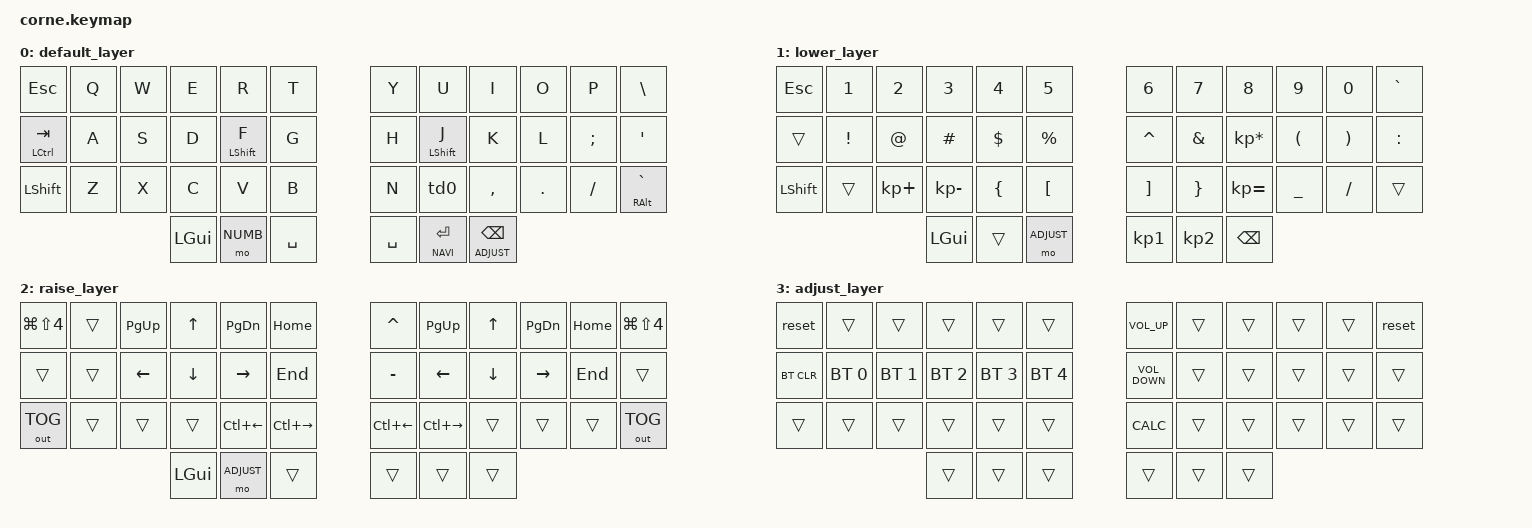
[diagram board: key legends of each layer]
/*
 * Copyright (c) 2020 The ZMK Contributors
 *
 * SPDX-License-Identifier: MIT
 * To use home rows - &hm LSHFT F
 */

#include <behaviors.dtsi>
#include <dt-bindings/zmk/keys.h>
#include <dt-bindings/zmk/bt.h>
#include <dt-bindings/zmk/outputs.h>

#define QWERTY 0
#define NUMB 1
#define NAVI 2
#define ADJUST 3

/ {

    behaviors {        
        hm: homerow_mods {
        compatible = "zmk,behavior-hold-tap";
        label = "HOMEROW_MODS";
        #binding-cells = <2>;
        tapping-term-ms = <150>;
        quick_tap_ms = <0>;
        flavor = "tap-preferred";
        bindings = <&kp>, <&kp>;
        };
		
		  td0: tap_dance_0 {
            compatible = "zmk,behavior-tap-dance";
            label = "TAP_DANCE_0";
            #binding-cells = <0>;
            tapping-term-ms = <200>;
            bindings = <&kp M>, <&kp RBRC>;
        };
    };

        keymap {
                compatible = "zmk,keymap";

                default_layer {
// .--------------------------------------------------------------.       .-----------------------------------------------------------.
// |   ESC        |    Q    |    W   |   E    |    R    |    T    |       |   Y   |    U    |    I    |    O    |     P    |    \     |
// |--------------+---------+--------+--------+---------+---------|       |-------+---------+---------+---------+----------+----------|
// |   CTRL/Tab   |    A    |    S   |   D    |    F    |    G    |       |   H   |    J    |    K    |    L    |     ;    |     '    |
// |--------------+---------+--------+--------+---------+---------|       |-------+---------+---------+---------+----------+----------|
// |   SHFT       |    Z    |    X   |   C    |    V    |    B    |       |   N   |   TD0   |    ,    |    .    |     /    | ` | ALT  |
// '---------------------------------+--------+---------+---------+       |-------+---------+---------+-------------------------------'
//                                   |  GUI   |   MO1   |   SPC   |       |  SPC  |   BKSP  |  CAPS   |
//                                   '--------+---------+---------'       '-------+---------+---------'
                        bindings = <
   &kp ESC        &kp Q       &kp W      &kp E     &kp R           &kp T   &kp Y  &kp U           &kp I        &kp O     &kp P      &kp BACKSLASH
   &mt LCTRL TAB  &kp A       &kp S      &kp D     &mt LSHFT F           &kp G   &kp H  &mt LSHFT J           &kp K        &kp L     &kp SEMI   &kp SQT
   &kp LSHFT      &kp Z       &kp X      &kp C     &kp V           &kp B   &kp N  &td0           &kp COMMA    &kp DOT   &kp FSLH   &mt RALT GRAVE
                              &kp LGUI   &mo NUMB  &kp SPACE       &kp SPACE     &lt NAVI RET    &lt ADJUST BKSP
                        >;
                };
                
                lower_layer {
// .--------------------------------------------------------------.       .-----------------------------------------------------------.
// |   ESC        |    1    |    2   |   3    |    4    |    5    |       |   6   |    7    |    8    |    9    |     0    |    `     |
// |--------------+---------+--------+--------+---------+---------|       |-------+---------+---------+---------+----------+----------|
// |              |    !    |    @   |   #    |    $    |    %    |       |   ^   |    &    |    *    |    (    |     )    |     :    |
// |--------------+---------+--------+--------+---------+---------|       |-------+---------+---------+---------+----------+----------|
// |   SHFT       |         |    +   |   -    |    {    |    [    |       |   ]   |    }    |    =    |    _    |          |          |
// '---------------------------------+--------+---------+---------+       |-------+---------+---------+-------------------------------'
//                                   |  GUI   |         |   MO3   |       |   ,   |    .    |   ?     |
//                                   '--------+---------+---------'       '-------+---------+---------'
                        bindings = <
   &kp ESC    &kp N1       &kp N2            &kp N3             &kp N4               &kp N5            &kp N6                   &kp N7                     &kp N8                 &kp N9                   &kp N0     &kp GRAVE
   &trans     &kp EXCL     &kp AT            &kp HASH           &kp DLLR             &kp PRCNT         &kp CARET                &kp AMPS                   &kp KP_MULTIPLY        &kp LPAR                 &kp RPAR   &kp COLON
   &kp LSHFT  &trans       &kp KP_PLUS       &kp KP_MINUS       &kp LEFT_BRACE       &kp LEFT_BRACKET  &kp RIGHT_BRACKET        &kp RIGHT_BRACE            &kp KP_EQUAL           &kp UNDERSCORE           &kp FSLH     &trans
                                             &kp LGUI           &trans               &mo ADJUST        &kp KP_N1                &kp KP_N2                  &kp BKSP
                        >;
                };
                
                raise_layer {
// .----------------------------------------------------------------.       .-----------------------------------------------------------------.
// |   CMD+SHIFT+4  |       |   PU   |   UP   |    PD    |   HOME   |       |  HOME   |    PU    |    UP   |   PD    |          | CMD+SHIFT+4 |
// |----------------+-------+--------+--------+----------+----------|       |---------+----------+---------+---------+----------+-------------|
// |                |       |  LEFT  |  DOWN  |   RIGHT  |   END    |       |  END    |   LEFT   |   DOWN  |  RIGHT  |          |             |
// |----------------+-------+--------+--------+----------+----------|       |---------+----------+---------+---------+----------+-------------|
// |     OUT_TOG    |       |        |        |CTRL+LEFT |CTRL+RIGHT|       |CTRL+LEFT|CTRL+RIGHT|         |         |          |   OUT_TOG   |
// '---------------------------------+--------+----------+----------+       |---------+----------+---------+----------------------------------'
//                                   |  GUI   |   MO3    |          |       |         |          |         |
//                                   '--------+----------+----------'       '---------+----------+---------'

                        bindings = <
   &kp LG(LS(N4))  &trans     &kp PAGE_UP        &kp UP_ARROW      &kp PAGE_DOWN       &kp HOME                &kp CARET            &kp PAGE_UP             &kp UP_ARROW       &kp PAGE_DOWN      &kp HOME     &kp LG(LS(N4))
   &trans          &trans     &kp LEFT_ARROW     &kp DOWN_ARROW    &kp RIGHT_ARROW     &kp END                 &kp MINUS            &kp LEFT_ARROW          &kp DOWN_ARROW     &kp RIGHT_ARROW    &kp END      &trans
   &out OUT_TOG    &trans     &trans             &trans            &kp LC(LEFT_ARROW)  &kp LC(RIGHT_ARROW)     &kp LC(LEFT_ARROW)   &kp LC(RIGHT_ARROW)     &trans             &trans             &trans       &out OUT_TOG
                              &kp LGUI           &mo ADJUST        &trans              &trans     &trans   &trans
                        >;
                };

                adjust_layer {
// .--------------------------------------------------------.       .--------------------------------------------------------------.
// |         |        |        |        |         |         |       |  VOL+  |        |         |         |          |             |
// |---------+--------+--------+--------+---------+---------|       |--------+--------+---------+---------+----------+-------------|
// |  BTCLR  |  BT1   |  BT2   |  BT3   |  BT4    |  BT5    |       |  VOL-  |        |         |         |          |             |
// |---------+--------+--------+--------+---------+---------|       |--------+--------+---------+---------+----------+-------------|
// |         |        |        |        |         |         |       | K_CALC |        |         |         |          |             |
// '---------------------------+--------+---------+---------+       |--------+--------+---------+----------------------------------'
//                             |        |         |         |       |        |        |         |
//                             '--------+---------+---------'       '--------+--------+---------'

                        bindings = <
   &reset      &trans          &trans         &trans          &trans          &trans            &kp C_VOLUME_UP    &trans &trans &trans &trans &reset
   &bt BT_CLR  &bt BT_SEL 0    &bt BT_SEL 1   &bt BT_SEL 2    &bt BT_SEL 3    &bt BT_SEL 4      &kp C_VOLUME_DOWN  &trans &trans &trans &trans &trans
   &trans      &trans          &trans         &trans          &trans          &trans            &kp K_CALC             &trans &trans &trans &trans &trans
                                   &trans &trans &trans   &trans &trans &trans
                        >;
                };
        };
};
